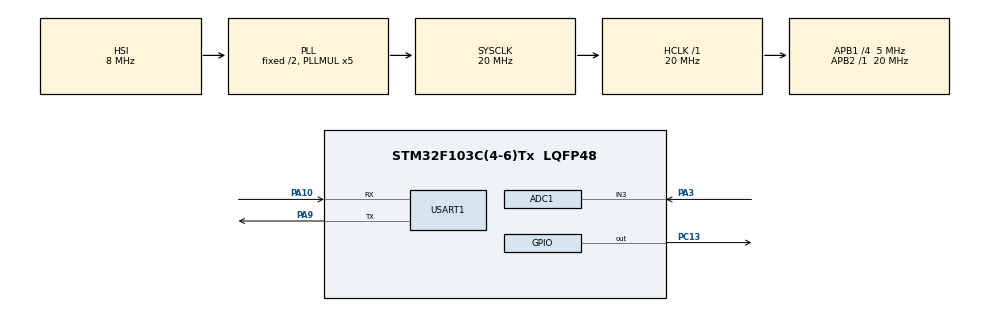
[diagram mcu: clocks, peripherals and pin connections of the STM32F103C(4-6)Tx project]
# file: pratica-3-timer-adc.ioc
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ADC1.Channel-1\#ChannelRegularConversion=ADC_CHANNEL_3
ADC1.NbrOfConversionFlag=1
ADC1.Rank-1\#ChannelRegularConversion=1
ADC1.SamplingTime-1\#ChannelRegularConversion=ADC_SAMPLETIME_1CYCLE_5
ADC1.master=1
Mcu.Family=STM32F1
Mcu.Name=STM32F103C(4-6)Tx
Mcu.Package=LQFP48
NVIC.PriorityGroup=NVIC_PRIORITYGROUP_4
NVIC.TIM3_IRQn=true\:0\:0\:false\:false\:true\:true\:true\:true
PA10.Mode=Asynchronous
PA10.Signal=USART1_RX
PA13.Mode=Serial_Wire
PA13.Signal=SYS_JTMS-SWDIO
PA14.Mode=Serial_Wire
PA14.Signal=SYS_JTCK-SWCLK
PA3.Signal=ADCx_IN3
PA9.Mode=Asynchronous
PA9.Signal=USART1_TX
PC13-TAMPER-RTC.Signal=GPIO_Output
ProjectManager.HeapSize=0x200
ProjectManager.StackSize=0x400
ProjectManager.TargetToolchain=STM32CubeIDE
RCC.AHBFreq_Value=20000000
RCC.APB1CLKDivider=RCC_HCLK_DIV4
RCC.APB1Freq_Value=5000000
RCC.APB1TimFreq_Value=10000000
RCC.APB2Freq_Value=20000000
RCC.APB2TimFreq_Value=20000000
RCC.HCLKFreq_Value=20000000
RCC.PLLMUL=RCC_PLL_MUL5
RCC.SYSCLKFreq_VALUE=20000000
RCC.SYSCLKSource=RCC_SYSCLKSOURCE_PLLCLK
RCC.USBFreq_Value=20000000
SH.ADCx_IN3.0=ADC1_IN3,IN3
TIM3.CounterMode=TIM_COUNTERMODE_DOWN
TIM3.Period=499
TIM3.Prescaler=999
USART1.VirtualMode=VM_ASYNC
VP_TIM3_VS_ClockSourceINT.Mode=Internal
board=custom

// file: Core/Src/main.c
/* USER CODE BEGIN Header */
/**
  ******************************************************************************
  * @file           : main.c
  * @brief          : Main program body
  ******************************************************************************
  * @attention
  *
  * Copyright (c) 2026 STMicroelectronics.
  * All rights reserved.
  *
  * This software is licensed under terms that can be found in the LICENSE file
  * in the root directory of this software component.
  * If no LICENSE file comes with this software, it is provided AS-IS.
  *
  ******************************************************************************
  */
/* USER CODE END Header */
#include "main.h"
#include "adc.h"
#include "tim.h"
#include "usart.h"
#include "gpio.h"

/* USER CODE BEGIN Includes */
#include "Bsp.h"
#include "LevelSensor.h"
#include <stdio.h>
/* USER CODE END Includes */

void SystemClock_Config(void);

/* USER CODE BEGIN 0 */
int __io_putchar(int ch)
{
    HAL_UART_Transmit(&huart1, (uint8_t *)&ch, 1, HAL_MAX_DELAY);
    return ch;
}
void HAL_TIM_PeriodElapsedCallback(TIM_HandleTypeDef *htim)
{
	if (htim->Instance == TIM3) {
		timerElapsedFlag = 1;
		//printf("tim3 elapsed flag = 1");
	}
}
/* USER CODE END 0 */

int main(void)
{

  /* MCU Configuration--------------------------------------------------------*/

  /* Reset of all peripherals, Initializes the Flash interface and the Systick. */
  HAL_Init();

  /* Configure the system clock */
  SystemClock_Config();

  /* Initialize all configured peripherals */
  MX_GPIO_Init();
  MX_ADC1_Init();
  MX_TIM3_Init();
  MX_USART1_UART_Init();
  /* USER CODE BEGIN 2 */
  HAL_TIM_Base_Start_IT(&htim3);
  Bsp_Init();
  /* USER CODE END 2 */

  /* Infinite loop */
  /* USER CODE BEGIN WHILE */
  while (1)
  {
	  if (Bsp_GetTimerOverflowFlag()) {
		  Bsp_ClearTimerFlag();
		  LevelSensor_AddSample(Bsp_ReadAdcPolling(&hadc1));
	  }
	  if (LevelSensor_IsReady()) {
		  LevelSensor_ClearReady();
		  printf("ADC: %d%%\n", LevelSensor_GetLastMean());
		  //HAL_GPIO_TogglePin(GPIOC, GPIO_PIN_13);
	  }
    /* USER CODE END WHILE */
  }
}

void SystemClock_Config(void)
{
  RCC_OscInitTypeDef RCC_OscInitStruct = {0};
  RCC_ClkInitTypeDef RCC_ClkInitStruct = {0};
  RCC_PeriphCLKInitTypeDef PeriphClkInit = {0};

  /** Initializes the RCC Oscillators according to the specified parameters
  * in the RCC_OscInitTypeDef structure.
  */
  RCC_OscInitStruct.OscillatorType = RCC_OSCILLATORTYPE_HSI;
  RCC_OscInitStruct.HSIState = RCC_HSI_ON;
  RCC_OscInitStruct.HSICalibrationValue = RCC_HSICALIBRATION_DEFAULT;
  RCC_OscInitStruct.PLL.PLLState = RCC_PLL_ON;
  RCC_OscInitStruct.PLL.PLLSource = RCC_PLLSOURCE_HSI_DIV2;
  RCC_OscInitStruct.PLL.PLLMUL = RCC_PLL_MUL5;
  if (HAL_RCC_OscConfig(&RCC_OscInitStruct) != HAL_OK)
  {
    Error_Handler();
  }

  /** Initializes the CPU, AHB and APB buses clocks
  */
  RCC_ClkInitStruct.ClockType = RCC_CLOCKTYPE_HCLK|RCC_CLOCKTYPE_SYSCLK
                              |RCC_CLOCKTYPE_PCLK1|RCC_CLOCKTYPE_PCLK2;
  RCC_ClkInitStruct.SYSCLKSource = RCC_SYSCLKSOURCE_PLLCLK;
  RCC_ClkInitStruct.AHBCLKDivider = RCC_SYSCLK_DIV1;
  RCC_ClkInitStruct.APB1CLKDivider = RCC_HCLK_DIV4;
  RCC_ClkInitStruct.APB2CLKDivider = RCC_HCLK_DIV1;

  if (HAL_RCC_ClockConfig(&RCC_ClkInitStruct, FLASH_LATENCY_0) != HAL_OK)
  {
    Error_Handler();
  }
  PeriphClkInit.PeriphClockSelection = RCC_PERIPHCLK_ADC;
  PeriphClkInit.AdcClockSelection = RCC_ADCPCLK2_DIV2;
  if (HAL_RCCEx_PeriphCLKConfig(&PeriphClkInit) != HAL_OK)
  {
    Error_Handler();
  }
}

void Error_Handler(void)
{
  __disable_irq();
  while (1)
  {
  }
}
